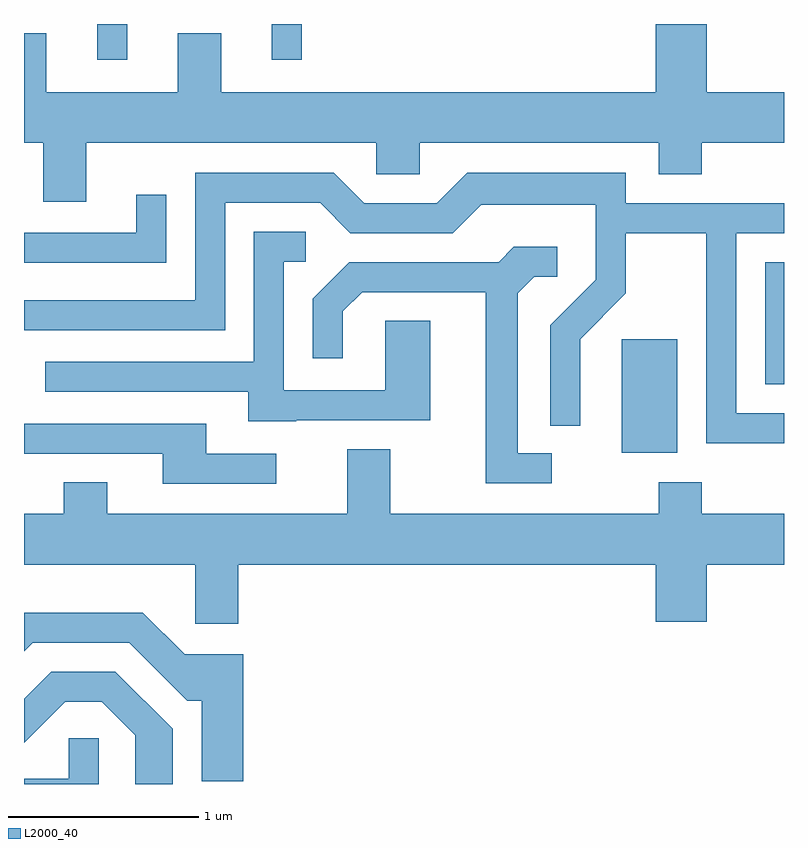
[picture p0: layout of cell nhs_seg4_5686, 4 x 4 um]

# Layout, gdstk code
import gdstk
lib = gdstk.Library(unit=1e-6, precision=1e-09)
def R(c, l, rs):  # rectangles x0, y0, x1, y1
    for r in rs: c.add(gdstk.rectangle(r[:2], r[2:], *l))
def P(c, l, *ps):  # polygons
    for p in ps: c.add(gdstk.Polygon(p, *l))
L2000_40 = (2000, 40)

nhs_seg4_5686 = lib.new_cell('nhs_seg4_5686')
R(nhs_seg4_5686, L2000_40, [(354.756,1339.726,355.049,1340.324), (355.511,1340.086,355.611,1340.729), (351.996,1341.793,352.154,1341.982), (352.916,1341.793,353.074,1341.982)])
P(nhs_seg4_5686, L2000_40, [(351.939,1341.356),(353.466,1341.356),(353.466,1341.191),(353.694,1341.191),(353.694,1341.356),(354.951,1341.356),(354.951,1341.191),(355.179,1341.191),(355.179,1341.356),(355.611,1341.356),(355.611,1341.624),(355.204,1341.624),(355.204,1341.982),(354.936,1341.982),(354.936,1341.624),(352.649,1341.624),(352.649,1341.934),(352.421,1341.934),(352.421,1341.624),(351.729,1341.624),(351.729,1341.934),(351.611,1341.934),(351.611,1341.356),(351.711,1341.356),(351.711,1341.046),(351.939,1341.046)],
  [(355.611,1339.934),(355.359,1339.934),(355.359,1340.881),(355.611,1340.881),(355.611,1341.039),(354.779,1341.039),(354.779,1341.199),(353.944,1341.199),(353.784,1341.039),(353.402,1341.039),(353.242,1341.199),(352.511,1341.199),(352.511,1340.529),(351.611,1340.529),(351.611,1340.371),(352.669,1340.371),(352.669,1341.041),(353.169,1341.041),(353.329,1340.881),(353.867,1340.881),(354.017,1341.031),(354.621,1341.031),(354.621,1340.637),(354.381,1340.397),(354.381,1339.868),(354.539,1339.868),(354.539,1340.324),(354.779,1340.564),(354.779,1340.881),(355.201,1340.881),(355.201,1339.776),(355.611,1339.776)],
  [(352.359,1341.083),(352.201,1341.083),(352.201,1340.884),(351.611,1340.884),(351.611,1340.726),(352.359,1340.726)],
  [(353.045,1339.896),(353.749,1339.896),(353.749,1340.419),(353.511,1340.419),(353.511,1340.054),(352.979,1340.054),(352.979,1340.731),(353.093,1340.731),(353.093,1340.889),(352.821,1340.889),(352.821,1340.204),(351.723,1340.204),(351.723,1340.046),(352.791,1340.046),(352.791,1339.891),(353.045,1339.891)],
  [(354.388,1339.724),(354.209,1339.724),(354.209,1340.564),(354.297,1340.651),(354.418,1340.651),(354.418,1340.809),(354.189,1340.809),(354.109,1340.729),(353.324,1340.729),(353.131,1340.537),(353.131,1340.223),(353.289,1340.223),(353.289,1340.469),(353.392,1340.571),(354.041,1340.571),(354.041,1339.566),(354.388,1339.566)],
  [(352.938,1339.719),(352.569,1339.719),(352.569,1339.879),(351.611,1339.879),(351.611,1339.721),(352.341,1339.721),(352.341,1339.561),(352.938,1339.561)],
  [(352.739,1339.136),(354.936,1339.136),(354.936,1338.836),(355.204,1338.836),(355.204,1339.136),(355.611,1339.136),(355.611,1339.404),(355.179,1339.404),(355.179,1339.569),(354.951,1339.569),(354.951,1339.404),(353.539,1339.404),(353.539,1339.744),(353.311,1339.744),(353.311,1339.404),(352.049,1339.404),(352.049,1339.569),(351.821,1339.569),(351.821,1339.404),(351.611,1339.404),(351.611,1339.136),(352.511,1339.136),(352.511,1338.826),(352.739,1338.826)],
  [(352.764,1338.664),(352.457,1338.664),(352.237,1338.884),(351.611,1338.884),(351.611,1338.68),(351.657,1338.726),(352.164,1338.726),(352.469,1338.421),(352.546,1338.421),(352.546,1337.996),(352.764,1337.996)],
  [(352.394,1338.272),(352.092,1338.574),(351.754,1338.574),(351.611,1338.431),(351.611,1338.2),(351.827,1338.416),(352.019,1338.416),(352.196,1338.239),(352.196,1337.982),(352.394,1337.982)],
  [(352.004,1338.223),(351.846,1338.223),(351.846,1338.009),(351.611,1338.009),(351.611,1337.982),(352.004,1337.982)])

lib.write_gds('nhs_seg4_5686.gds')
